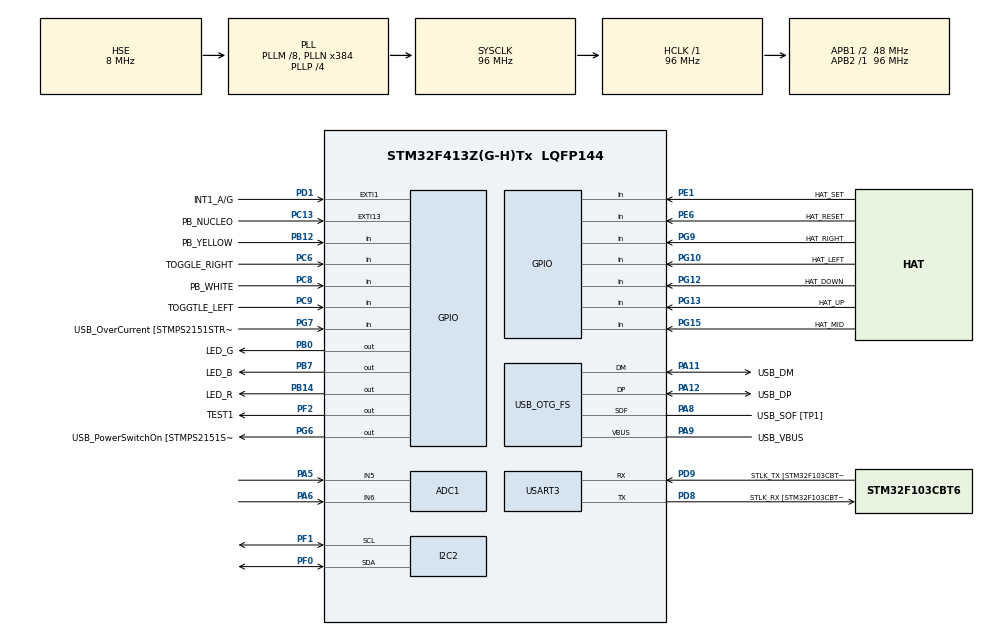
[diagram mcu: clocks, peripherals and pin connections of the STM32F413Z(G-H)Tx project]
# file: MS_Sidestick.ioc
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ADC1.Channel-0\#ChannelRegularConversion=ADC_CHANNEL_5
ADC1.Channel-1\#ChannelRegularConversion=ADC_CHANNEL_6
ADC1.ContinuousConvMode=DISABLE
ADC1.DMAContinuousRequests=DISABLE
ADC1.NbrOfConversion=2
ADC1.NbrOfConversionFlag=1
ADC1.Rank-0\#ChannelRegularConversion=1
ADC1.Rank-1\#ChannelRegularConversion=2
ADC1.SamplingTime-0\#ChannelRegularConversion=ADC_SAMPLETIME_480CYCLES
ADC1.SamplingTime-1\#ChannelRegularConversion=ADC_SAMPLETIME_480CYCLES
ADC1.ScanConvMode=ENABLE
ADC1.master=1
Dma.ADC1.1.Direction=DMA_PERIPH_TO_MEMORY
Dma.ADC1.1.FIFOMode=DMA_FIFOMODE_DISABLE
Dma.ADC1.1.Instance=DMA2_Stream0
Dma.ADC1.1.MemDataAlignment=DMA_MDATAALIGN_HALFWORD
Dma.ADC1.1.MemInc=DMA_MINC_ENABLE
Dma.ADC1.1.Mode=DMA_NORMAL
Dma.ADC1.1.PeriphDataAlignment=DMA_PDATAALIGN_HALFWORD
Dma.ADC1.1.PeriphInc=DMA_PINC_DISABLE
Dma.ADC1.1.Priority=DMA_PRIORITY_LOW
Dma.I2C2_RX.0.Direction=DMA_PERIPH_TO_MEMORY
Dma.I2C2_RX.0.FIFOMode=DMA_FIFOMODE_DISABLE
Dma.I2C2_RX.0.Instance=DMA1_Stream2
Dma.I2C2_RX.0.MemDataAlignment=DMA_MDATAALIGN_BYTE
Dma.I2C2_RX.0.MemInc=DMA_MINC_ENABLE
Dma.I2C2_RX.0.Mode=DMA_NORMAL
Dma.I2C2_RX.0.PeriphDataAlignment=DMA_PDATAALIGN_BYTE
Dma.I2C2_RX.0.PeriphInc=DMA_PINC_DISABLE
Dma.I2C2_RX.0.Priority=DMA_PRIORITY_LOW
Dma.Request0=I2C2_RX
Dma.Request1=ADC1
FREERTOS.Events01=gameCtrlEvents,Dynamic,NULL
FREERTOS.Tasks01=defaultTask,24,256,StartDefaultTask,Default,NULL,Dynamic,NULL,NULL
FREERTOS.Timers01=IMU_timer,IMU_timerCbk,osTimerPeriodic,Default,NULL,Dynamic,NULL
Mcu.Family=STM32F4
Mcu.Name=STM32F413Z(G-H)Tx
Mcu.Package=LQFP144
Mcu.UserConstants=CUSTOM_HID_EPIN_SIZE,64;CUSTOM_HID_EPOUT_SIZE,64
NVIC.DMA1_Stream2_IRQn=true\:5\:0\:false\:false\:true\:true\:false\:true\:true
NVIC.DMA2_Stream0_IRQn=true\:5\:0\:false\:false\:true\:true\:false\:true\:true
NVIC.EXTI1_IRQn=true\:5\:0\:false\:false\:true\:true\:true\:true\:true
NVIC.I2C2_EV_IRQn=true\:5\:0\:false\:false\:true\:true\:true\:true\:true
NVIC.OTG_FS_IRQn=true\:5\:0\:false\:false\:true\:true\:true\:true\:true
NVIC.PriorityGroup=NVIC_PRIORITYGROUP_4
NVIC.TIM6_DAC_IRQn=true\:15\:0\:false\:false\:true\:false\:false\:true\:true
NVIC.TimeBase=TIM6_DAC_IRQn
NVIC.TimeBaseIP=TIM6
PA10.GPIO_Label=USB_ID
PA10.Signal=USB_OTG_FS_ID
PA11.GPIO_Label=USB_DM
PA11.Mode=Device_Only
PA11.Signal=USB_OTG_FS_DM
PA12.GPIO_Label=USB_DP
PA12.Mode=Device_Only
PA12.Signal=USB_OTG_FS_DP
PA13.GPIO_Label=TMS
PA13.Mode=Serial_Wire
PA13.Signal=SYS_JTMS-SWDIO
PA14.GPIO_Label=TCK
PA14.Mode=Serial_Wire
PA14.Signal=SYS_JTCK-SWCLK
PA5.Signal=ADCx_IN5
PA6.Signal=ADCx_IN6
PA8.GPIO_Label=USB_SOF [TP1]
PA8.Mode=Activate_SOF_FS
PA8.Signal=USB_OTG_FS_SOF
PA9.GPIO_Label=USB_VBUS
PA9.Mode=Activate_VBUS
PA9.Signal=USB_OTG_FS_VBUS
PB0.GPIO_Label=LED_G
PB0.Signal=GPIO_Output
PB12.GPIO_Label=PB_YELLOW
PB12.GPIO_PuPd=GPIO_PULLUP
PB12.Signal=GPIO_Input
PB14.GPIO_Label=LED_R
PB14.Signal=GPIO_Output
PB3.GPIO_Label=SWO
PB3.Signal=SYS_JTDO-SWO
PB7.GPIO_Label=LED_B
PB7.Signal=GPIO_Output
PC13.GPIO_Label=PB_NUCLEO
PC13.Signal=GPXTI13
PC14-OSC32_IN.Mode=LSE-External-Oscillator
PC14-OSC32_IN.Signal=RCC_OSC32_IN
PC15-OSC32_OUT.Mode=LSE-External-Oscillator
PC15-OSC32_OUT.Signal=RCC_OSC32_OUT
PC6.GPIO_Label=TOGGLE_RIGHT
PC6.GPIO_PuPd=GPIO_PULLUP
PC6.Signal=GPIO_Input
PC8.GPIO_Label=PB_WHITE
PC8.GPIO_PuPd=GPIO_PULLUP
PC8.Signal=GPIO_Input
PC9.GPIO_Label=TOGGTLE_LEFT
PC9.GPIO_PuPd=GPIO_PULLUP
PC9.Signal=GPIO_Input
PD1.GPIO_Label=INT1_A/G
PD1.Signal=GPXTI1
PD8.GPIO_Label=STLK_RX [STM32F103CBT6_PA3]
PD8.Mode=Asynchronous
PD8.Signal=USART3_TX
PD9.GPIO_Label=STLK_TX [STM32F103CBT6_PA2]
PD9.Mode=Asynchronous
PD9.Signal=USART3_RX
PE1.GPIO_Label=HAT_SET
PE1.GPIO_PuPd=GPIO_PULLUP
PE1.Signal=GPIO_Input
PE6.GPIO_Label=HAT_RESET
PE6.GPIO_PuPd=GPIO_PULLUP
PE6.Signal=GPIO_Input
PF0.GPIO_Pu=GPIO_PULLUP
PF0.Mode=I2C
PF0.Signal=I2C2_SDA
PF1.GPIO_Pu=GPIO_PULLUP
PF1.Mode=I2C
PF1.Signal=I2C2_SCL
PF2.GPIO_Label=TEST1
PF2.Signal=GPIO_Output
PG10.GPIO_Label=HAT_LEFT
PG10.GPIO_PuPd=GPIO_PULLUP
PG10.Signal=GPIO_Input
PG12.GPIO_Label=HAT_DOWN
PG12.GPIO_PuPd=GPIO_PULLUP
PG12.Signal=GPIO_Input
PG13.GPIO_Label=HAT_UP
PG13.GPIO_PuPd=GPIO_PULLUP
PG13.Signal=GPIO_Input
PG15.GPIO_Label=HAT_MID
PG15.GPIO_PuPd=GPIO_PULLUP
PG15.Signal=GPIO_Input
PG6.GPIO_Label=USB_PowerSwitchOn [STMPS2151STR_EN]
PG6.Signal=GPIO_Output
PG7.GPIO_Label=USB_OverCurrent [STMPS2151STR_FAULT]
PG7.Signal=GPIO_Input
PG9.GPIO_Label=HAT_RIGHT
PG9.GPIO_PuPd=GPIO_PULLUP
PG9.Signal=GPIO_Input
PH0\ -\ OSC_IN.GPIO_Label=MCO
PH0\ -\ OSC_IN.Mode=HSE-External-Clock-Source
PH0\ -\ OSC_IN.Signal=RCC_OSC_IN
PH1\ -\ OSC_OUT.Mode=HSE-External-Clock-Source
PH1\ -\ OSC_OUT.Signal=RCC_OSC_OUT
ProjectManager.HeapSize=0x200
ProjectManager.StackSize=0x400
ProjectManager.TargetToolchain=CMake
RCC.48MHZClocksFreq_Value=24000000
RCC.AHBFreq_Value=96000000
RCC.APB1CLKDivider=RCC_HCLK_DIV2
RCC.APB1Freq_Value=48000000
RCC.APB1TimFreq_Value=96000000
RCC.APB2Freq_Value=96000000
RCC.APB2TimFreq_Value=96000000
RCC.CortexFreq_Value=96000000
RCC.HCLKFreq_Value=96000000
RCC.HSE_VALUE=8000000
RCC.HSI_VALUE=16000000
RCC.PLLM=8
RCC.PLLMUL=RCC_PLL_MUL9
RCC.PLLN=384
RCC.PLLP=RCC_PLLP_DIV4
RCC.PLLQ=8
RCC.PRESCALERUSB=RCC_USBCLKSOURCE_PLL_DIV1_5
RCC.SYSCLKFreq_VALUE=96000000
RCC.SYSCLKSource=RCC_SYSCLKSOURCE_PLLCLK
RCC.SYSCLKSourceVirtual=RCC_SYSCLKSOURCE_PLLCLK
RCC.USBFreq_Value=48000000
RCC.VCOOutputFreq_Value=384000000
SH.ADCx_IN5.0=ADC1_IN5,IN5
SH.ADCx_IN6.0=ADC1_IN6,IN6
TIM2.Prescaler=96-1
USART3.VirtualMode=VM_ASYNC
USB_DEVICE.CLASS_NAME_FS=CUSTOM_HID
USB_DEVICE.CUSTOM_HID_FS_BINTERVAL=5
USB_DEVICE.MANUFACTURER_STRING=MS Controllers
USB_DEVICE.PRODUCT_STRING_CUSTOMHID_FS=MS Sidestick
USB_DEVICE.USBD_CUSTOMHID_OUTREPORT_BUF_SIZE=64
USB_DEVICE.USBD_CUSTOM_HID_REPORT_DESC_SIZE=96
USB_DEVICE.USBD_DEBUG_LEVEL=3
USB_DEVICE.VirtualMode=CustomHid
USB_DEVICE.VirtualModeFS=Custom_Hid_FS
USB_OTG_FS.VirtualMode=Device_Only
VP_FREERTOS_VS_CMSIS_V2.Mode=CMSIS_V2
VP_SYS_VS_tim6.Mode=TIM6
VP_TIM2_VS_ClockSourceINT.Mode=Internal
VP_USB_DEVICE_VS_USB_DEVICE_CUSTOM_HID_FS.Mode=CUSTOM_HID_FS
board=NUCLEO-F413ZH

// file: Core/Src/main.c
/* USER CODE BEGIN Header */
/**
  ******************************************************************************
  * @file           : main.c
  * @brief          : Main program body
  ******************************************************************************
  * @attention
  *
  * Copyright (c) 2024 STMicroelectronics.
  * All rights reserved.
  *
  * This software is licensed under terms that can be found in the LICENSE file
  * in the root directory of this software component.
  * If no LICENSE file comes with this software, it is provided AS-IS.
  *
  ******************************************************************************
  */
/* USER CODE END Header */
#include "main.h"
#include "cmsis_os.h"
#include "usb_device.h"

/* USER CODE BEGIN Includes */
#include "logger.h"
#include "game_controller.h"
#include "IMU.h"
/* USER CODE END Includes */

ADC_HandleTypeDef hadc1;
DMA_HandleTypeDef hdma_adc1;

I2C_HandleTypeDef hi2c2;
DMA_HandleTypeDef hdma_i2c2_rx;

TIM_HandleTypeDef htim2;

UART_HandleTypeDef huart3;

/* Definitions for defaultTask */
osThreadId_t defaultTaskHandle;
const osThreadAttr_t defaultTask_attributes = {
  .name = "defaultTask",
  .stack_size = 256 * 4,
  .priority = (osPriority_t) osPriorityNormal,
};
/* Definitions for IMU_timer */
osTimerId_t IMU_timerHandle;
const osTimerAttr_t IMU_timer_attributes = {
  .name = "IMU_timer"
};
/* Definitions for gameCtrlEvents */
osEventFlagsId_t gameCtrlEventsHandle;
const osEventFlagsAttr_t gameCtrlEvents_attributes = {
  .name = "gameCtrlEvents"
};

void SystemClock_Config(void);
static void MX_GPIO_Init(void);
static void MX_DMA_Init(void);
static void MX_USART3_UART_Init(void);
static void MX_I2C2_Init(void);
static void MX_TIM2_Init(void);
static void MX_ADC1_Init(void);
void StartDefaultTask(void *argument);
void IMU_timerCbk(void *argument);

int main(void)
{

  /* MCU Configuration--------------------------------------------------------*/

  /* Reset of all peripherals, Initializes the Flash interface and the Systick. */
  HAL_Init();

  /* Configure the system clock */
  SystemClock_Config();

  /* Initialize all configured peripherals */
  MX_GPIO_Init();
  MX_DMA_Init();
  MX_USART3_UART_Init();
  MX_I2C2_Init();
  MX_TIM2_Init();
  MX_ADC1_Init();
  /* USER CODE BEGIN 2 */
  pLoggerUART = &huart3;
  pIMU_I2C = &hi2c2;
  pStopWatch = &htim2;
  /* clear error LED */
  HAL_GPIO_WritePin(LED_R_GPIO_Port, LED_R_Pin, GPIO_PIN_RESET);
  LOG_INFO("\rMS Sidestick v0.1");
  IMU_init();
  /* USER CODE END 2 */

  /* Init scheduler */
  osKernelInitialize();

  /* Create the timer(s) */
  /* creation of IMU_timer */
  IMU_timerHandle = osTimerNew(IMU_timerCbk, osTimerPeriodic, NULL, &IMU_timer_attributes);

  /* Create the thread(s) */
  /* creation of defaultTask */
  defaultTaskHandle = osThreadNew(StartDefaultTask, NULL, &defaultTask_attributes);

  /* Create the event(s) */
  /* creation of gameCtrlEvents */
  gameCtrlEventsHandle = osEventFlagsNew(&gameCtrlEvents_attributes);

  /* Start scheduler */
  osKernelStart();

  /* We should never get here as control is now taken by the scheduler */

  /* Infinite loop */
  while (1)
  {

  }
}

void SystemClock_Config(void)
{
  RCC_OscInitTypeDef RCC_OscInitStruct = {0};
  RCC_ClkInitTypeDef RCC_ClkInitStruct = {0};

  /** Configure the main internal regulator output voltage
  */
  __HAL_RCC_PWR_CLK_ENABLE();
  __HAL_PWR_VOLTAGESCALING_CONFIG(PWR_REGULATOR_VOLTAGE_SCALE1);

  /** Initializes the RCC Oscillators according to the specified parameters
  * in the RCC_OscInitTypeDef structure.
  */
  RCC_OscInitStruct.OscillatorType = RCC_OSCILLATORTYPE_HSE;
  RCC_OscInitStruct.HSEState = RCC_HSE_BYPASS;
  RCC_OscInitStruct.PLL.PLLState = RCC_PLL_ON;
  RCC_OscInitStruct.PLL.PLLSource = RCC_PLLSOURCE_HSE;
  RCC_OscInitStruct.PLL.PLLM = 8;
  RCC_OscInitStruct.PLL.PLLN = 384;
  RCC_OscInitStruct.PLL.PLLP = RCC_PLLP_DIV4;
  RCC_OscInitStruct.PLL.PLLQ = 8;
  RCC_OscInitStruct.PLL.PLLR = 2;
  if (HAL_RCC_OscConfig(&RCC_OscInitStruct) != HAL_OK)
  {
    Error_Handler();
  }

  /** Initializes the CPU, AHB and APB buses clocks
  */
  RCC_ClkInitStruct.ClockType = RCC_CLOCKTYPE_HCLK|RCC_CLOCKTYPE_SYSCLK
                              |RCC_CLOCKTYPE_PCLK1|RCC_CLOCKTYPE_PCLK2;
  RCC_ClkInitStruct.SYSCLKSource = RCC_SYSCLKSOURCE_PLLCLK;
  RCC_ClkInitStruct.AHBCLKDivider = RCC_SYSCLK_DIV1;
  RCC_ClkInitStruct.APB1CLKDivider = RCC_HCLK_DIV2;
  RCC_ClkInitStruct.APB2CLKDivider = RCC_HCLK_DIV1;

  if (HAL_RCC_ClockConfig(&RCC_ClkInitStruct, FLASH_LATENCY_3) != HAL_OK)
  {
    Error_Handler();
  }
}

static void MX_ADC1_Init(void)
{

  ADC_ChannelConfTypeDef sConfig = {0};

  /** Configure the global features of the ADC (Clock, Resolution, Data Alignment and number of conversion)
  */
  hadc1.Instance = ADC1;
  hadc1.Init.ClockPrescaler = ADC_CLOCK_SYNC_PCLK_DIV4;
  hadc1.Init.Resolution = ADC_RESOLUTION_12B;
  hadc1.Init.ScanConvMode = ENABLE;
  hadc1.Init.ContinuousConvMode = DISABLE;
  hadc1.Init.DiscontinuousConvMode = DISABLE;
  hadc1.Init.ExternalTrigConvEdge = ADC_EXTERNALTRIGCONVEDGE_NONE;
  hadc1.Init.ExternalTrigConv = ADC_SOFTWARE_START;
  hadc1.Init.DataAlign = ADC_DATAALIGN_RIGHT;
  hadc1.Init.NbrOfConversion = 2;
  hadc1.Init.DMAContinuousRequests = DISABLE;
  hadc1.Init.EOCSelection = ADC_EOC_SINGLE_CONV;
  if (HAL_ADC_Init(&hadc1) != HAL_OK)
  {
    Error_Handler();
  }

  /** Configure for the selected ADC regular channel its corresponding rank in the sequencer and its sample time.
  */
  sConfig.Channel = ADC_CHANNEL_5;
  sConfig.Rank = 1;
  sConfig.SamplingTime = ADC_SAMPLETIME_480CYCLES;
  if (HAL_ADC_ConfigChannel(&hadc1, &sConfig) != HAL_OK)
  {
    Error_Handler();
  }

  /** Configure for the selected ADC regular channel its corresponding rank in the sequencer and its sample time.
  */
  sConfig.Channel = ADC_CHANNEL_6;
  sConfig.Rank = 2;
  if (HAL_ADC_ConfigChannel(&hadc1, &sConfig) != HAL_OK)
  {
    Error_Handler();
  }

}

static void MX_I2C2_Init(void)
{

  hi2c2.Instance = I2C2;
  hi2c2.Init.ClockSpeed = 100000;
  hi2c2.Init.DutyCycle = I2C_DUTYCYCLE_2;
  hi2c2.Init.OwnAddress1 = 0;
  hi2c2.Init.AddressingMode = I2C_ADDRESSINGMODE_7BIT;
  hi2c2.Init.DualAddressMode = I2C_DUALADDRESS_DISABLE;
  hi2c2.Init.OwnAddress2 = 0;
  hi2c2.Init.GeneralCallMode = I2C_GENERALCALL_DISABLE;
  hi2c2.Init.NoStretchMode = I2C_NOSTRETCH_DISABLE;
  if (HAL_I2C_Init(&hi2c2) != HAL_OK)
  {
    Error_Handler();
  }

}

static void MX_TIM2_Init(void)
{

  TIM_ClockConfigTypeDef sClockSourceConfig = {0};
  TIM_MasterConfigTypeDef sMasterConfig = {0};

  htim2.Instance = TIM2;
  htim2.Init.Prescaler = 96-1;
  htim2.Init.CounterMode = TIM_COUNTERMODE_UP;
  htim2.Init.Period = 4294967295;
  htim2.Init.ClockDivision = TIM_CLOCKDIVISION_DIV1;
  htim2.Init.AutoReloadPreload = TIM_AUTORELOAD_PRELOAD_DISABLE;
  if (HAL_TIM_Base_Init(&htim2) != HAL_OK)
  {
    Error_Handler();
  }
  sClockSourceConfig.ClockSource = TIM_CLOCKSOURCE_INTERNAL;
  if (HAL_TIM_ConfigClockSource(&htim2, &sClockSourceConfig) != HAL_OK)
  {
    Error_Handler();
  }
  sMasterConfig.MasterOutputTrigger = TIM_TRGO_RESET;
  sMasterConfig.MasterSlaveMode = TIM_MASTERSLAVEMODE_DISABLE;
  if (HAL_TIMEx_MasterConfigSynchronization(&htim2, &sMasterConfig) != HAL_OK)
  {
    Error_Handler();
  }

}

static void MX_USART3_UART_Init(void)
{

  huart3.Instance = USART3;
  huart3.Init.BaudRate = 115200;
  huart3.Init.WordLength = UART_WORDLENGTH_8B;
  huart3.Init.StopBits = UART_STOPBITS_1;
  huart3.Init.Parity = UART_PARITY_NONE;
  huart3.Init.Mode = UART_MODE_TX_RX;
  huart3.Init.HwFlowCtl = UART_HWCONTROL_NONE;
  huart3.Init.OverSampling = UART_OVERSAMPLING_16;
  if (HAL_UART_Init(&huart3) != HAL_OK)
  {
    Error_Handler();
  }

}

static void MX_DMA_Init(void)
{

  /* DMA controller clock enable */
  __HAL_RCC_DMA1_CLK_ENABLE();
  __HAL_RCC_DMA2_CLK_ENABLE();

  /* DMA interrupt init */
  /* DMA1_Stream2_IRQn interrupt configuration */
  HAL_NVIC_SetPriority(DMA1_Stream2_IRQn, 5, 0);
  HAL_NVIC_EnableIRQ(DMA1_Stream2_IRQn);
  /* DMA2_Stream0_IRQn interrupt configuration */
  HAL_NVIC_SetPriority(DMA2_Stream0_IRQn, 5, 0);
  HAL_NVIC_EnableIRQ(DMA2_Stream0_IRQn);

}

static void MX_GPIO_Init(void)
{
  GPIO_InitTypeDef GPIO_InitStruct = {0};

  /* GPIO Ports Clock Enable */
  __HAL_RCC_GPIOE_CLK_ENABLE();
  __HAL_RCC_GPIOC_CLK_ENABLE();
  __HAL_RCC_GPIOF_CLK_ENABLE();
  __HAL_RCC_GPIOH_CLK_ENABLE();
  __HAL_RCC_GPIOA_CLK_ENABLE();
  __HAL_RCC_GPIOB_CLK_ENABLE();
  __HAL_RCC_GPIOD_CLK_ENABLE();
  __HAL_RCC_GPIOG_CLK_ENABLE();

  /*Configure GPIO pin Output Level */
  HAL_GPIO_WritePin(TEST1_GPIO_Port, TEST1_Pin, GPIO_PIN_RESET);

  /*Configure GPIO pin Output Level */
  HAL_GPIO_WritePin(GPIOB, LED_G_Pin|LED_R_Pin|LED_B_Pin, GPIO_PIN_RESET);

  /*Configure GPIO pin Output Level */
  HAL_GPIO_WritePin(USB_PowerSwitchOn_GPIO_Port, USB_PowerSwitchOn_Pin, GPIO_PIN_RESET);

  /*Configure GPIO pins : HAT_RESET_Pin HAT_SET_Pin */
  GPIO_InitStruct.Pin = HAT_RESET_Pin|HAT_SET_Pin;
  GPIO_InitStruct.Mode = GPIO_MODE_INPUT;
  GPIO_InitStruct.Pull = GPIO_PULLUP;
  HAL_GPIO_Init(GPIOE, &GPIO_InitStruct);

  /*Configure GPIO pin : PB_NUCLEO_Pin */
  GPIO_InitStruct.Pin = PB_NUCLEO_Pin;
  GPIO_InitStruct.Mode = GPIO_MODE_IT_RISING;
  GPIO_InitStruct.Pull = GPIO_NOPULL;
  HAL_GPIO_Init(PB_NUCLEO_GPIO_Port, &GPIO_InitStruct);

  /*Configure GPIO pin : TEST1_Pin */
  GPIO_InitStruct.Pin = TEST1_Pin;
  GPIO_InitStruct.Mode = GPIO_MODE_OUTPUT_PP;
  GPIO_InitStruct.Pull = GPIO_NOPULL;
  GPIO_InitStruct.Speed = GPIO_SPEED_FREQ_LOW;
  HAL_GPIO_Init(TEST1_GPIO_Port, &GPIO_InitStruct);

  /*Configure GPIO pins : LED_G_Pin LED_R_Pin LED_B_Pin */
  GPIO_InitStruct.Pin = LED_G_Pin|LED_R_Pin|LED_B_Pin;
  GPIO_InitStruct.Mode = GPIO_MODE_OUTPUT_PP;
  GPIO_InitStruct.Pull = GPIO_NOPULL;
  GPIO_InitStruct.Speed = GPIO_SPEED_FREQ_LOW;
  HAL_GPIO_Init(GPIOB, &GPIO_InitStruct);

  /*Configure GPIO pin : PB_YELLOW_Pin */
  GPIO_InitStruct.Pin = PB_YELLOW_Pin;
  GPIO_InitStruct.Mode = GPIO_MODE_INPUT;
  GPIO_InitStruct.Pull = GPIO_PULLUP;
  HAL_GPIO_Init(PB_YELLOW_GPIO_Port, &GPIO_InitStruct);

  /*Configure GPIO pin : USB_PowerSwitchOn_Pin */
  GPIO_InitStruct.Pin = USB_PowerSwitchOn_Pin;
  GPIO_InitStruct.Mode = GPIO_MODE_OUTPUT_PP;
  GPIO_InitStruct.Pull = GPIO_NOPULL;
  GPIO_InitStruct.Speed = GPIO_SPEED_FREQ_LOW;
  HAL_GPIO_Init(USB_PowerSwitchOn_GPIO_Port, &GPIO_InitStruct);

  /*Configure GPIO pin : USB_OverCurrent_Pin */
  GPIO_InitStruct.Pin = USB_OverCurrent_Pin;
  GPIO_InitStruct.Mode = GPIO_MODE_INPUT;
  GPIO_InitStruct.Pull = GPIO_NOPULL;
  HAL_GPIO_Init(USB_OverCurrent_GPIO_Port, &GPIO_InitStruct);

  /*Configure GPIO pins : TOGGLE_RIGHT_Pin PB_WHITE_Pin TOGGTLE_LEFT_Pin */
  GPIO_InitStruct.Pin = TOGGLE_RIGHT_Pin|PB_WHITE_Pin|TOGGTLE_LEFT_Pin;
  GPIO_InitStruct.Mode = GPIO_MODE_INPUT;
  GPIO_InitStruct.Pull = GPIO_PULLUP;
  HAL_GPIO_Init(GPIOC, &GPIO_InitStruct);

  /*Configure GPIO pin : INT1_A_G_Pin */
  GPIO_InitStruct.Pin = INT1_A_G_Pin;
  GPIO_InitStruct.Mode = GPIO_MODE_IT_RISING;
  GPIO_InitStruct.Pull = GPIO_NOPULL;
  HAL_GPIO_Init(INT1_A_G_GPIO_Port, &GPIO_InitStruct);

  /*Configure GPIO pins : HAT_RIGHT_Pin HAT_LEFT_Pin HAT_DOWN_Pin HAT_UP_Pin
                           HAT_MID_Pin */
  GPIO_InitStruct.Pin = HAT_RIGHT_Pin|HAT_LEFT_Pin|HAT_DOWN_Pin|HAT_UP_Pin
                          |HAT_MID_Pin;
  GPIO_InitStruct.Mode = GPIO_MODE_INPUT;
  GPIO_InitStruct.Pull = GPIO_PULLUP;
  HAL_GPIO_Init(GPIOG, &GPIO_InitStruct);

  /* EXTI interrupt init*/
  HAL_NVIC_SetPriority(EXTI1_IRQn, 5, 0);
  HAL_NVIC_EnableIRQ(EXTI1_IRQn);

}

/* USER CODE BEGIN 4 */
/**
  * @brief  EXTI line detection callbacks.
  * @param  GPIO_Pin Specifies the pins connected EXTI line
  * @retval None
  */
void HAL_GPIO_EXTI_Callback(uint16_t GPIO_Pin)
{
  if(INT1_A_G_Pin == GPIO_Pin)
  {
    /* interrupt from IMU A/G */
    if(!IMU_transferActive)
    {
      /* do not start IMU readout if the previous one is still ongoing */
      IMU_AG_readRequest();
      /* the function HAL_I2C_MemRxCpltCallback will be called on transfer complete */
    }
  }
}
/* USER CODE END 4 */

void StartDefaultTask(void *argument)
{
  /* init code for USB_DEVICE */
  MX_USB_DEVICE_Init();
  /* USER CODE BEGIN 5 */
  UNUSED(argument);
/* call game controller infinite loop */
  gameControllerLoop();
  /* this line is never reached */
  /* USER CODE END 5 */
}

/* IMU_timerCbk function */
void IMU_timerCbk(void *argument)
{
  /* USER CODE BEGIN IMU_timerCbk */
  UNUSED(argument);
  IMU_AG_readRequest();
  /* USER CODE END IMU_timerCbk */
}

void HAL_TIM_PeriodElapsedCallback(TIM_HandleTypeDef *htim)
{
  if (htim->Instance == TIM6) {
    HAL_IncTick();
  }
}

void Error_Handler(void)
{
  /* USER CODE BEGIN Error_Handler_Debug */
  /* User can add his own implementation to report the HAL error return state */
  HAL_GPIO_WritePin(LED_R_GPIO_Port, LED_R_Pin, GPIO_PIN_SET);
  __disable_irq();
  while (1)
  {
  }
  /* USER CODE END Error_Handler_Debug */
}
